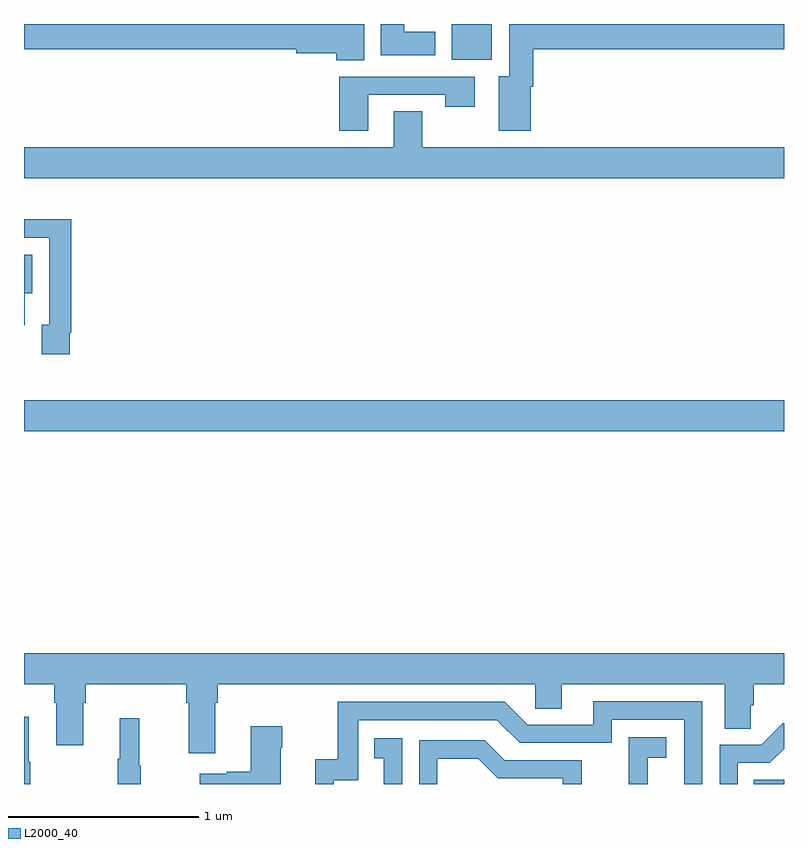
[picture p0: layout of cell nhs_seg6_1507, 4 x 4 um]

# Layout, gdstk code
import gdstk
lib = gdstk.Library(unit=1e-6, precision=1e-09)
def R(c, l, rs):  # rectangles x0, y0, x1, y1
    for r in rs: c.add(gdstk.rectangle(r[:2], r[2:], *l))
def P(c, l, *ps):  # polygons
    for p in ps: c.add(gdstk.Polygon(p, *l))
L2000_40 = (2000, 40)

nhs_seg6_1507 = lib.new_cell('nhs_seg6_1507')
R(nhs_seg6_1507, L2000_40, [(206.842,925.5,207,925.522), (203,927.356,207,927.52), (205.25,929.312,205.462,929.5)])
P(nhs_seg6_1507, L2000_40, [(204.79,929.5),(203,929.5),(203,929.368),(204.434,929.368),(204.434,929.345),(204.644,929.345),(204.644,929.308),(204.79,929.308)],
  [(205.165,929.458),(205,929.458),(205,929.5),(204.878,929.5),(204.878,929.336),(205.165,929.336)],
  [(205.666,929.171),(205.679,929.171),(205.679,929.368),(207,929.368),(207,929.5),(205.553,929.5),(205.553,929.224),(205.499,929.224),(205.499,928.938),(205.666,928.938)],
  [(204.811,929.127),(205.216,929.127),(205.216,929.064),(205.372,929.064),(205.372,929.223),(204.659,929.223),(204.659,928.938),(204.811,928.938)],
  [(207,928.852),(205.095,928.852),(205.095,929.042),(204.947,929.042),(204.947,928.852),(203,928.852),(203,928.688),(207,928.688)],
  [(203.242,927.874),(203.249,927.874),(203.249,928.472),(203,928.472),(203,928.374),(203.133,928.374),(203.133,927.918),(203.093,927.918),(203.093,927.762),(203.242,927.762)],
  [(203.005,928.082),(203.044,928.082),(203.044,928.285),(203,928.285),(203,927.914),(203.005,927.914)],
  [(204.007,925.928),(204.02,925.928),(204.02,926.024),(205.692,926.024),(205.692,925.897),(205.831,925.897),(205.831,926.024),(206.687,926.024),(206.687,925.792),(206.826,925.792),(206.826,925.915),(206.84,925.915),(206.84,926.024),(207,926.024),(207,926.188),(203,926.188),(203,926.024),(203.159,926.024),(203.159,925.928),(203.171,925.928),(203.171,925.704),(203.311,925.704),(203.311,925.928),(203.324,925.928),(203.324,926.024),(203.855,926.024),(203.855,925.928),(203.867,925.928),(203.867,925.662),(204.007,925.662)],
  [(204.63,925.521),(204.759,925.521),(204.759,925.836),(205.488,925.836),(205.608,925.716),(206.094,925.716),(206.094,925.839),(206.475,925.839),(206.475,925.5),(206.571,925.5),(206.571,925.935),(205.997,925.935),(205.997,925.812),(205.65,925.812),(205.53,925.932),(204.651,925.932),(204.651,925.63),(204.533,925.63),(204.533,925.5),(204.63,925.5)],
  [(203.034,925.616),(203.026,925.616),(203.026,925.855),(203,925.855),(203,925.5),(203.034,925.5)],
  [(203.614,925.596),(203.606,925.596),(203.606,925.846),(203.504,925.846),(203.504,925.633),(203.493,925.633),(203.493,925.5),(203.614,925.5)],
  [(206.757,925.611),(206.926,925.611),(207,925.685),(207,925.82),(206.993,925.82),(206.88,925.707),(206.661,925.707),(206.661,925.5),(206.757,925.5)],
  [(204.352,925.691),(204.36,925.691),(204.36,925.804),(204.194,925.804),(204.194,925.565),(204.068,925.565),(204.068,925.555),(203.925,925.555),(203.925,925.5),(204.352,925.5)],
  [(206.282,925.637),(206.38,925.637),(206.38,925.747),(206.182,925.747),(206.182,925.541),(206.183,925.541),(206.183,925.5),(206.282,925.5)],
  [(204.99,925.741),(204.844,925.741),(204.844,925.635),(204.893,925.635),(204.893,925.5),(204.99,925.5)],
  [(205.176,925.634),(205.39,925.634),(205.494,925.53),(205.836,925.53),(205.836,925.5),(205.935,925.5),(205.935,925.626),(205.531,925.626),(205.426,925.731),(205.08,925.731),(205.08,925.5),(205.176,925.5)])

lib.write_gds('nhs_seg6_1507.gds')
